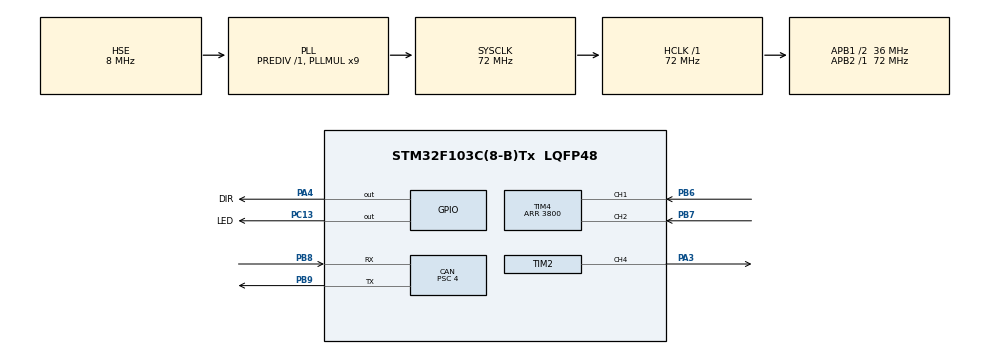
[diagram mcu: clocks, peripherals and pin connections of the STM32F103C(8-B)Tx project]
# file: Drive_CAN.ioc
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CAN.BS1=CAN_BS1_14TQ
CAN.BS2=CAN_BS2_3TQ
CAN.CalculateBaudRate=500000
CAN.CalculateTimeBit=2000
CAN.CalculateTimeQuantum=111.11111111111111
CAN.Prescaler=4
Mcu.Family=STM32F1
Mcu.Name=STM32F103C(8-B)Tx
Mcu.Package=LQFP48
NVIC.CAN1_RX1_IRQn=true\:0\:0\:false\:false\:true\:true\:true\:true
NVIC.PriorityGroup=NVIC_PRIORITYGROUP_4
NVIC.TIM4_IRQn=true\:0\:0\:false\:false\:true\:true\:true\:true
PA13.Mode=Serial_Wire
PA13.Signal=SYS_JTMS-SWDIO
PA14.Mode=Serial_Wire
PA14.Signal=SYS_JTCK-SWCLK
PA3.Signal=S_TIM2_CH4
PA4.GPIO_Label=DIR
PA4.Signal=GPIO_Output
PB6.Signal=S_TIM4_CH1
PB7.Signal=S_TIM4_CH2
PB8.Mode=CAN_Activate
PB8.Signal=CAN_RX
PB9.Mode=CAN_Activate
PB9.Signal=CAN_TX
PC13-TAMPER-RTC.GPIO_Label=LED
PC13-TAMPER-RTC.Signal=GPIO_Output
PD0-OSC_IN.Mode=HSE-External-Oscillator
PD0-OSC_IN.Signal=RCC_OSC_IN
PD1-OSC_OUT.Mode=HSE-External-Oscillator
PD1-OSC_OUT.Signal=RCC_OSC_OUT
ProjectManager.HeapSize=0x200
ProjectManager.StackSize=0x400
ProjectManager.TargetToolchain=STM32CubeIDE
RCC.AHBFreq_Value=72000000
RCC.APB1CLKDivider=RCC_HCLK_DIV2
RCC.APB1Freq_Value=36000000
RCC.APB1TimFreq_Value=72000000
RCC.APB2Freq_Value=72000000
RCC.APB2TimFreq_Value=72000000
RCC.HCLKFreq_Value=72000000
RCC.PLLMUL=RCC_PLL_MUL9
RCC.PLLSourceVirtual=RCC_PLLSOURCE_HSE
RCC.SYSCLKFreq_VALUE=72000000
RCC.SYSCLKSource=RCC_SYSCLKSOURCE_PLLCLK
RCC.USBFreq_Value=72000000
SH.S_TIM2_CH4.0=TIM2_CH4,PWM Generation4 CH4
SH.S_TIM4_CH1.0=TIM4_CH1,Encoder_Interface
SH.S_TIM4_CH2.0=TIM4_CH2,Encoder_Interface
TIM2.Channel-PWM\ Generation4\ CH4=TIM_CHANNEL_4
TIM2.Period=255-1
TIM2.Prescaler=18-1
TIM4.AutoReloadPreload=TIM_AUTORELOAD_PRELOAD_ENABLE
TIM4.EncoderMode=TIM_ENCODERMODE_TI12
TIM4.IC1Filter=10
TIM4.IC2Filter=0
TIM4.Period=3800
VP_TIM2_VS_ClockSourceINT.Mode=Internal
board=custom

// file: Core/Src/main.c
/* USER CODE BEGIN Header */
/**
  ******************************************************************************
  * @file           : main.c
  * @brief          : Main program body
  ******************************************************************************
  * @attention
  *
  * Copyright (c) 2024 STMicroelectronics.
  * All rights reserved.
  *
  * This software is licensed under terms that can be found in the LICENSE file
  * in the root directory of this software component.
  * If no LICENSE file comes with this software, it is provided AS-IS.
  *
  ******************************************************************************
  */
/* USER CODE END Header */
#include "main.h"

/* USER CODE BEGIN Includes */
#include <math.h>
#include <stdio.h>
/* USER CODE END Includes */

CAN_HandleTypeDef hcan;

TIM_HandleTypeDef htim2;
TIM_HandleTypeDef htim4;

void SystemClock_Config(void);
static void MX_GPIO_Init(void);
static void MX_CAN_Init(void);
static void MX_TIM4_Init(void);
static void MX_TIM2_Init(void);
/* USER CODE BEGIN PFP */
void resetEncoder(void); //function to reset encoder values when polling stops

/* USER CODE END PFP */

/* USER CODE BEGIN 0 */
//store ID of master CAN node
#define MASTER_ID 0x465

//store ID of first slave CAN node
#define SLAVE0_ID 0x550

//store the ID of the current slave node, change this when uploading
#define SLAVE_ID 0x553 //0x551 //0x552 //0x553

//how many pulses are seen on 1 full rotation
#define MAX_COUNT 3800

CAN_RxHeaderTypeDef RxHeader;
CAN_TxHeaderTypeDef TxHeader;
uint8_t RxData[8];
uint8_t TxData[8];
uint32_t TxMailbox;

uint8_t sysCheck=0; //000 -> 0
uint8_t polling=7; //111->7
uint8_t stopPoll=5; //101->5

//define variables for storing encoder values
uint32_t currentEnc=0;
uint32_t previousEnc=0; //to calculate velocity
int16_t diff=0;
int32_t pos=0; //absolute position with accuracy of 6'
int16_t angPos=0; //angular position
uint8_t PWM=0;
uint8_t DIR=0; //PWM and DIR pins for motor direction and speed

/* USER CODE END 0 */

int main(void)
{

  /* MCU Configuration--------------------------------------------------------*/

  /* Reset of all peripherals, Initializes the Flash interface and the Systick. */
  HAL_Init();

  /* Configure the system clock */
  SystemClock_Config();

  /* Initialize all configured peripherals */
  MX_GPIO_Init();
  MX_CAN_Init();
  MX_TIM4_Init();
  MX_TIM2_Init();
  /* USER CODE BEGIN 2 */
  HAL_CAN_Start(&hcan);
  HAL_CAN_ActivateNotification(&hcan, CAN_IT_RX_FIFO1_MSG_PENDING);

  //start PWM mode for the motor
  HAL_TIM_PWM_Start(&htim2, TIM_CHANNEL_4);
  TIM2->CCR4=0; //set initial PWM value as zero
  HAL_GPIO_WritePin(DIR_GPIO_Port, DIR_Pin,DIR); //set the initial value of DIR
  //start TIM4 in encoder mode to read the encoder pulses in 4x mode
  HAL_TIM_Encoder_Start(&htim4, TIM_CHANNEL_ALL);

  TxHeader.IDE=CAN_ID_STD;
  TxHeader.RTR=CAN_RTR_DATA;
  TxHeader.StdId=SLAVE_ID; // ID of this CAN node

  /* USER CODE END 2 */

  /* Infinite loop */
  while (1)
  {

  }
}

void SystemClock_Config(void)
{
  RCC_OscInitTypeDef RCC_OscInitStruct = {0};
  RCC_ClkInitTypeDef RCC_ClkInitStruct = {0};

  /** Initializes the RCC Oscillators according to the specified parameters
  * in the RCC_OscInitTypeDef structure.
  */
  RCC_OscInitStruct.OscillatorType = RCC_OSCILLATORTYPE_HSE;
  RCC_OscInitStruct.HSEState = RCC_HSE_ON;
  RCC_OscInitStruct.HSEPredivValue = RCC_HSE_PREDIV_DIV1;
  RCC_OscInitStruct.HSIState = RCC_HSI_ON;
  RCC_OscInitStruct.PLL.PLLState = RCC_PLL_ON;
  RCC_OscInitStruct.PLL.PLLSource = RCC_PLLSOURCE_HSE;
  RCC_OscInitStruct.PLL.PLLMUL = RCC_PLL_MUL9;
  if (HAL_RCC_OscConfig(&RCC_OscInitStruct) != HAL_OK)
  {
    Error_Handler();
  }

  /** Initializes the CPU, AHB and APB buses clocks
  */
  RCC_ClkInitStruct.ClockType = RCC_CLOCKTYPE_HCLK|RCC_CLOCKTYPE_SYSCLK
                              |RCC_CLOCKTYPE_PCLK1|RCC_CLOCKTYPE_PCLK2;
  RCC_ClkInitStruct.SYSCLKSource = RCC_SYSCLKSOURCE_PLLCLK;
  RCC_ClkInitStruct.AHBCLKDivider = RCC_SYSCLK_DIV1;
  RCC_ClkInitStruct.APB1CLKDivider = RCC_HCLK_DIV2;
  RCC_ClkInitStruct.APB2CLKDivider = RCC_HCLK_DIV1;

  if (HAL_RCC_ClockConfig(&RCC_ClkInitStruct, FLASH_LATENCY_2) != HAL_OK)
  {
    Error_Handler();
  }
}

static void MX_CAN_Init(void)
{

  hcan.Instance = CAN1;
  hcan.Init.Prescaler = 4;
  hcan.Init.Mode = CAN_MODE_NORMAL;
  hcan.Init.SyncJumpWidth = CAN_SJW_1TQ;
  hcan.Init.TimeSeg1 = CAN_BS1_14TQ;
  hcan.Init.TimeSeg2 = CAN_BS2_3TQ;
  hcan.Init.TimeTriggeredMode = DISABLE;
  hcan.Init.AutoBusOff = DISABLE;
  hcan.Init.AutoWakeUp = DISABLE;
  hcan.Init.AutoRetransmission = DISABLE;
  hcan.Init.ReceiveFifoLocked = DISABLE;
  hcan.Init.TransmitFifoPriority = DISABLE;
  if (HAL_CAN_Init(&hcan) != HAL_OK)
  {
    Error_Handler();
  }
  /* USER CODE BEGIN CAN_Init 2 */
  CAN_FilterTypeDef canfilterconfig;

  canfilterconfig.FilterActivation = CAN_FILTER_ENABLE;
  canfilterconfig.FilterBank = 10;  // from 0 to 13, which filter bank to use from the assigned ones
  canfilterconfig.FilterFIFOAssignment = CAN_FILTER_FIFO1; //accept messages at FIFO1
  canfilterconfig.FilterIdHigh = MASTER_ID<<5; //accept from only master ID
  canfilterconfig.FilterIdLow = 0;
  canfilterconfig.FilterMaskIdHigh = 0b11111111111<<5;
  canfilterconfig.FilterMaskIdLow = 0x0000;
  canfilterconfig.FilterMode = CAN_FILTERMODE_IDMASK;
  canfilterconfig.FilterScale = CAN_FILTERSCALE_32BIT;
  canfilterconfig.SlaveStartFilterBank = 0;  // doesn't matter for single CAN MCUs

  HAL_CAN_ConfigFilter(&hcan, &canfilterconfig);

  /* USER CODE END CAN_Init 2 */

}

static void MX_TIM2_Init(void)
{

  TIM_ClockConfigTypeDef sClockSourceConfig = {0};
  TIM_MasterConfigTypeDef sMasterConfig = {0};
  TIM_OC_InitTypeDef sConfigOC = {0};

  htim2.Instance = TIM2;
  htim2.Init.Prescaler = 18-1;
  htim2.Init.CounterMode = TIM_COUNTERMODE_UP;
  htim2.Init.Period = 255-1;
  htim2.Init.ClockDivision = TIM_CLOCKDIVISION_DIV1;
  htim2.Init.AutoReloadPreload = TIM_AUTORELOAD_PRELOAD_DISABLE;
  if (HAL_TIM_Base_Init(&htim2) != HAL_OK)
  {
    Error_Handler();
  }
  sClockSourceConfig.ClockSource = TIM_CLOCKSOURCE_INTERNAL;
  if (HAL_TIM_ConfigClockSource(&htim2, &sClockSourceConfig) != HAL_OK)
  {
    Error_Handler();
  }
  if (HAL_TIM_PWM_Init(&htim2) != HAL_OK)
  {
    Error_Handler();
  }
  sMasterConfig.MasterOutputTrigger = TIM_TRGO_RESET;
  sMasterConfig.MasterSlaveMode = TIM_MASTERSLAVEMODE_DISABLE;
  if (HAL_TIMEx_MasterConfigSynchronization(&htim2, &sMasterConfig) != HAL_OK)
  {
    Error_Handler();
  }
  sConfigOC.OCMode = TIM_OCMODE_PWM1;
  sConfigOC.Pulse = 0;
  sConfigOC.OCPolarity = TIM_OCPOLARITY_HIGH;
  sConfigOC.OCFastMode = TIM_OCFAST_DISABLE;
  if (HAL_TIM_PWM_ConfigChannel(&htim2, &sConfigOC, TIM_CHANNEL_4) != HAL_OK)
  {
    Error_Handler();
  }
  HAL_TIM_MspPostInit(&htim2);

}

static void MX_TIM4_Init(void)
{

  TIM_Encoder_InitTypeDef sConfig = {0};
  TIM_MasterConfigTypeDef sMasterConfig = {0};

  htim4.Instance = TIM4;
  htim4.Init.Prescaler = 0;
  htim4.Init.CounterMode = TIM_COUNTERMODE_UP;
  htim4.Init.Period = 3800;
  htim4.Init.ClockDivision = TIM_CLOCKDIVISION_DIV1;
  htim4.Init.AutoReloadPreload = TIM_AUTORELOAD_PRELOAD_ENABLE;
  sConfig.EncoderMode = TIM_ENCODERMODE_TI12;
  sConfig.IC1Polarity = TIM_ICPOLARITY_RISING;
  sConfig.IC1Selection = TIM_ICSELECTION_DIRECTTI;
  sConfig.IC1Prescaler = TIM_ICPSC_DIV1;
  sConfig.IC1Filter = 10;
  sConfig.IC2Polarity = TIM_ICPOLARITY_RISING;
  sConfig.IC2Selection = TIM_ICSELECTION_DIRECTTI;
  sConfig.IC2Prescaler = TIM_ICPSC_DIV1;
  sConfig.IC2Filter = 0;
  if (HAL_TIM_Encoder_Init(&htim4, &sConfig) != HAL_OK)
  {
    Error_Handler();
  }
  sMasterConfig.MasterOutputTrigger = TIM_TRGO_RESET;
  sMasterConfig.MasterSlaveMode = TIM_MASTERSLAVEMODE_DISABLE;
  if (HAL_TIMEx_MasterConfigSynchronization(&htim4, &sMasterConfig) != HAL_OK)
  {
    Error_Handler();
  }

}

static void MX_GPIO_Init(void)
{
  GPIO_InitTypeDef GPIO_InitStruct = {0};

  /* GPIO Ports Clock Enable */
  __HAL_RCC_GPIOC_CLK_ENABLE();
  __HAL_RCC_GPIOD_CLK_ENABLE();
  __HAL_RCC_GPIOA_CLK_ENABLE();
  __HAL_RCC_GPIOB_CLK_ENABLE();

  /*Configure GPIO pin Output Level */
  HAL_GPIO_WritePin(LED_GPIO_Port, LED_Pin, GPIO_PIN_RESET);

  /*Configure GPIO pin Output Level */
  HAL_GPIO_WritePin(DIR_GPIO_Port, DIR_Pin, GPIO_PIN_RESET);

  /*Configure GPIO pin : LED_Pin */
  GPIO_InitStruct.Pin = LED_Pin;
  GPIO_InitStruct.Mode = GPIO_MODE_OUTPUT_PP;
  GPIO_InitStruct.Pull = GPIO_NOPULL;
  GPIO_InitStruct.Speed = GPIO_SPEED_FREQ_LOW;
  HAL_GPIO_Init(LED_GPIO_Port, &GPIO_InitStruct);

  /*Configure GPIO pin : DIR_Pin */
  GPIO_InitStruct.Pin = DIR_Pin;
  GPIO_InitStruct.Mode = GPIO_MODE_OUTPUT_PP;
  GPIO_InitStruct.Pull = GPIO_NOPULL;
  GPIO_InitStruct.Speed = GPIO_SPEED_FREQ_LOW;
  HAL_GPIO_Init(DIR_GPIO_Port, &GPIO_InitStruct);

}

/* USER CODE BEGIN 4 */
void HAL_CAN_RxFifo1MsgPendingCallback(CAN_HandleTypeDef *hcan1)
{
	//receive message stored in the CAN FIFO1 buffer
	if (HAL_CAN_GetRxMessage(hcan1, CAN_RX_FIFO1, &RxHeader, RxData) != HAL_OK)
	{
		Error_Handler();
	}

	//check if the message is coming from master node and whether it is meant for the current slave node
	//break down the command into qualifier and address
	uint8_t command=RxData[0]>>5; //look at the first 3 bits
	uint8_t address=(command<<5)^RxData[0];

	if (RxHeader.DLC==3 && address==SLAVE_ID-SLAVE0_ID) //polling mode will send 3 bytes of data now
	{
		if (command==polling)
		{
			//set PWM and direction pins
			PWM=RxData[1];
			DIR=RxData[2];
			TIM2->CCR4=PWM; //set the duty cycle as an 8 bit value that is received

			//set the direction pin
			HAL_GPIO_WritePin(DIR_GPIO_Port, DIR_Pin,DIR); //set the initial value of DIR

			//extract information about encoder and send to master node
			TxHeader.DLC=8; //send 8 bytes of data for encoder input

			currentEnc=TIM4->CNT; //get the current count of encoder
			if (currentEnc==previousEnc)
				diff=0; //no change in velocity
			else if (currentEnc>previousEnc)
			{
				if (__HAL_TIM_IS_TIM_COUNTING_DOWN(&htim4)) //underflow occurred
					diff=-previousEnc-__HAL_TIM_GET_AUTORELOAD(&htim4)+currentEnc;
				else
					diff=currentEnc-previousEnc;
			}
			else
			{
				if (__HAL_TIM_IS_TIM_COUNTING_DOWN(&htim4))
					diff=currentEnc-previousEnc;
				else //overflow occurred
					diff=currentEnc+__HAL_TIM_GET_AUTORELOAD(&htim4)-previousEnc;
			}
			pos+=diff;
			previousEnc=currentEnc;

			//performing the calculations for data transfer
			//first 4 bytes -> absolute position value
			//next 2 bytes -> angular position
			//next 2 bytes -> difference in encoder readings

			//extracting bytes for absolute encoder position
			uint8_t b0 = (pos>>24)&0xFF;
			uint8_t b1 = (pos>>16)&0xFF;
			uint8_t b2 = (pos>>8)&0xFF;
			uint8_t b3 = (pos)&0xFF;

			//extracting bytes for angular position
			angPos=round((3600.0*currentEnc)/MAX_COUNT);
			uint8_t b4 = (angPos>>8)&0xFF;
			uint8_t b5 = (angPos)&0xFF;

			//extracting bytes for difference in encoder values
			uint8_t b6 = (diff>>8)&0XFF;
			uint8_t b7 = (diff)&0xFF;

			//preparing data for transmission
			TxData[0]=b0;
			TxData[1]=b1;
			TxData[2]=b2;
			TxData[3]=b3;
			TxData[4]=b4;
			TxData[5]=b5;
			TxData[6]=b6;
			TxData[7]=b7;

			//send the CAN message
			if (HAL_CAN_AddTxMessage(&hcan, &TxHeader, TxData, &TxMailbox) != HAL_OK)
			{
				Error_Handler ();
			}

			//toggle GPIO pin to indicate continuous message transmission
			//use this option for debugging
			HAL_GPIO_TogglePin(LED_GPIO_Port, LED_Pin);
		}
	}

	if (RxHeader.DLC==1 && address==SLAVE_ID-SLAVE0_ID)
	{
		//perform the systems check of CAN nodes
		if (command==sysCheck)
		{
			TxHeader.DLC=1; //send 1 byte of data as a systems check
			TxData[0]=RxData[0];
			//transmit the received message back to master CAN node
			HAL_GPIO_TogglePin(LED_GPIO_Port, LED_Pin);
			if (HAL_CAN_AddTxMessage(&hcan, &TxHeader, TxData, &TxMailbox) != HAL_OK)
			{
				Error_Handler ();
			}
		}

	}
}

/* USER CODE END 4 */

void Error_Handler(void)
{
  __disable_irq();
  while (1)
  {
  }
}
